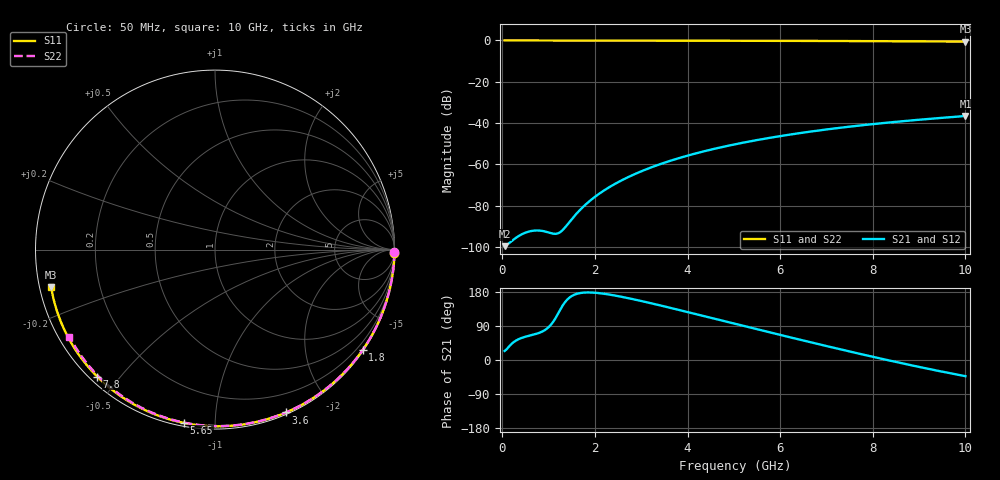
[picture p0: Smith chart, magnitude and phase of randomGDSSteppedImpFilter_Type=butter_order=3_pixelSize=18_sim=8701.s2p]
! freq	dB(S11)	phase(S11)	dB(S12)	phase(S12)
!  dB(S21)	phase(S21)	dB(S22)	phase(S22)
!S-par simulation data
#  GHz  S  DB  R 50
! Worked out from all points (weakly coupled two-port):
!   200 points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, 50 MHz to 10 GHz, reference 50 ohm
!   highest |S21| = -36.55 dB at 10 GHz (marker M1); lowest = -99.6 dB at 50 MHz (marker M2)
!   lowest |S11| = -0.6 dB at 10 GHz (marker M3), VSWR 30.51, Z = 1.66 - j5.7 ohm
!   |S11| at or under -10 dB: nowhere
!   |S22| runs from -0.5 to 0.0 dB; largest |S21 - S12| = 0
!   S11 on the Smith chart (normalised r, x): 50 MHz: open; 1.8 GHz: 0.03, -3.25; 3.6 GHz: 0.02, -1.53; 5.65 GHz: 0.02, -0.84; 7.8 GHz: 0.02, -0.44; 10 GHz: 0.03, -0.11
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0.05  -0.00 -1.0  -99.55 23.9  -99.55 23.9  -0.00 -0.9
0.45  -0.01 -8.7  -93.49 59.6  -93.49 59.6  -0.01 -7.8
0.85  -0.02 -16.4  -92.12 74.4  -92.12 74.4  -0.02 -14.6
1.3  -0.03 -24.9  -91.83 143.1  -91.83 143.1  -0.03 -22.2
1.75  -0.04 -33.3  -80.43 177.7  -80.43 177.7  -0.04 -29.8
1.8  -0.04 -34.2  -79.39 178.1  -79.39 178.1  -0.04 -30.6
1.95  -0.05 -37.0  -76.55 177.9  -76.55 177.9  -0.04 -33.1
2.1  -0.05 -39.7  -74.06 176.3  -74.06 176.3  -0.05 -35.6
2.3  -0.06 -43.4  -71.14 172.9  -71.14 172.9  -0.05 -38.9
2.5  -0.06 -47.0  -68.60 168.6  -68.60 168.6  -0.05 -42.1
2.9  -0.07 -54.2  -64.28 158.5  -64.28 158.5  -0.06 -48.6
3.4  -0.08 -63.0  -59.93 144.4  -59.93 144.4  -0.07 -56.5
3.6  -0.09 -66.4  -58.43 138.5  -58.43 138.5  -0.08 -59.6
4.3  -0.11 -78.3  -53.95 117.5  -53.95 117.5  -0.10 -70.4
5.05  -0.14 -90.6  -50.14 94.7  -50.14 94.7  -0.12 -81.6
5.65  -0.17 -100.1  -47.61 76.7  -47.61 76.7  -0.15 -90.2
6.15  -0.19 -107.9  -45.76 61.8  -45.76 61.8  -0.17 -97.3
6.7  -0.23 -116.3  -43.96 45.6  -43.96 45.6  -0.20 -104.9
7.8  -0.31 -132.9  -40.96 14.0  -40.96 14.0  -0.28 -119.8
8.35  -0.36 -141.2  -39.70 -1.1  -39.70 -1.1  -0.32 -127.2
9.2  -0.45 -154.2  -37.99 -23.3  -37.99 -23.3  -0.41 -138.5
10  -0.57 -167.0  -36.55 -42.7  -36.55 -42.7  -0.50 -149.2
